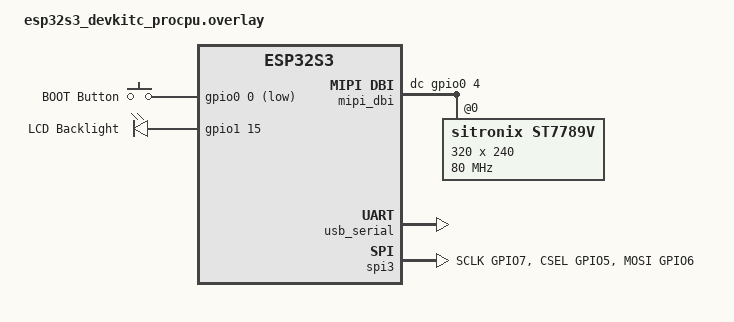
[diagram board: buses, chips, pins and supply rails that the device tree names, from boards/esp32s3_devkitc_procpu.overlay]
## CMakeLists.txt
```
cmake_minimum_required(VERSION 3.20.0)
find_package(Zephyr REQUIRED HINTS $ENV{ZEPHYR_BASE})
project(smart_camera)

target_sources(app PRIVATE
	src/main.c
	src/wifi_mgr.c
	src/display_ui.c
	src/jpeg_decoder.c
	src/mjpeg_client.c
	src/track_client.c
)

target_include_directories(app PRIVATE src)

# Reuse LVGL's bundled TJpgDec (compiled in via CONFIG_LV_USE_TJPGD=y).
# Add the tjpgd source dir so we can `#include "tjpgd.h"` directly.
target_include_directories(app PRIVATE
	${ZEPHYR_BASE}/../modules/lib/gui/lvgl/src/libs/tjpgd
	${ZEPHYR_BASE}/../modules/lib/gui/lvgl/src
)
```

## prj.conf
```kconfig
# smart_camera Phase 1: Wi-Fi STA + LCD status overlay.

# ── Console ──
CONFIG_PRINTK=y
CONFIG_CONSOLE=y
CONFIG_SERIAL=y

CONFIG_LOG=y
CONFIG_LOG_DEFAULT_LEVEL=3
CONFIG_LOG_BUFFER_SIZE=8192

# ── Display + LVGL (status overlay only for Phase 1) ──
CONFIG_DISPLAY=y
CONFIG_LVGL=y
CONFIG_LV_USE_LOG=n
CONFIG_LV_Z_MEM_POOL_SIZE=32768
CONFIG_LV_Z_VDB_SIZE=20
CONFIG_LV_Z_BITS_PER_PIXEL=16
CONFIG_LV_COLOR_16_SWAP=y
CONFIG_LV_USE_LABEL=y
CONFIG_LV_USE_BUTTON=y
CONFIG_LV_FONT_MONTSERRAT_14=y
CONFIG_LV_FONT_MONTSERRAT_18=y
CONFIG_LV_USE_CANVAS=y
# JPEG decoder (TJpgDec, bundled in LVGL). We call jd_prepare/jd_decomp directly.
CONFIG_LV_USE_TJPGD=y
# Disable default theme (matches launcher_full: shadows can crash with WiFi coexistence)
CONFIG_LV_USE_THEME_DEFAULT=n
CONFIG_LV_USE_THEME_SIMPLE=y

# ── SPI / MIPI-DBI for LCD ──
CONFIG_SPI=y
CONFIG_MIPI_DBI=y

# ── GPIO for BOOT button ──
CONFIG_GPIO=y
CONFIG_GPIO_INIT_PRIORITY=40

# ── PSRAM (Wi-Fi alloc on PSRAM keeps DRAM free) ──
CONFIG_ESP_SPIRAM=y
CONFIG_SHARED_MULTI_HEAP=y
CONFIG_ESP_SPIRAM_HEAP_SIZE=4194304

# ── Networking ──
CONFIG_NETWORKING=y
CONFIG_NET_MGMT=y
CONFIG_NET_MGMT_EVENT=y
CONFIG_NET_MGMT_EVENT_INFO=y
CONFIG_NET_IPV4=y
CONFIG_NET_IPV6=n
CONFIG_NET_TCP=y
CONFIG_NET_UDP=y
CONFIG_NET_DHCPV4=y
CONFIG_NET_SOCKETS=y
CONFIG_POSIX_API=y

# ── HTTP client (for Phase 3 MJPEG pull) ──
CONFIG_HTTP_CLIENT=y

# ── DNS ──
CONFIG_DNS_RESOLVER=y
CONFIG_DNS_RESOLVER_AI_MAX_ENTRIES=2

# ── WiFi (PSRAM alloc to keep DRAM free) ──
CONFIG_WIFI=y
CONFIG_WIFI_NM=y
CONFIG_NET_L2_WIFI_MGMT=y
CONFIG_ESP32_WIFI_STA_AUTO_DHCPV4=y
CONFIG_ESP32_WIFI_STATIC_RX_BUFFER_NUM=4
CONFIG_ESP32_WIFI_DYNAMIC_RX_BUFFER_NUM=8
CONFIG_ESP32_WIFI_DYNAMIC_TX_BUFFER_NUM=8
CONFIG_ESP32_WIFI_NET_ALLOC_SPIRAM=y
CONFIG_ESP_WIFI_HEAP_SPIRAM=y

# ── Stack & buffers ──
CONFIG_MAIN_STACK_SIZE=8192
CONFIG_SYSTEM_WORKQUEUE_STACK_SIZE=4096
CONFIG_NET_TX_STACK_SIZE=2048
CONFIG_NET_RX_STACK_SIZE=2048
CONFIG_NET_MGMT_EVENT_STACK_SIZE=4096
CONFIG_NET_PKT_RX_COUNT=24
CONFIG_NET_PKT_TX_COUNT=10
CONFIG_NET_BUF_RX_COUNT=64
CONFIG_NET_BUF_TX_COUNT=24
CONFIG_NET_MAX_CONTEXTS=6
CONFIG_NET_MGMT_EVENT_QUEUE_TIMEOUT=5000
CONFIG_NET_MGMT_EVENT_QUEUE_SIZE=16

# ── Heap ──
CONFIG_HEAP_MEM_POOL_SIZE=65536
```

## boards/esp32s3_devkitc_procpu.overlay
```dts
/* smart_camera DTS overlay for CHD-ESP32-S3-BOX
 *
 * Minimal: USB serial console + LCD (ST7789V on SPI3) + BOOT button.
 * No camera, no I2S, no BT — they aren't needed for this firmware.
 */

#include <zephyr/dt-bindings/pinctrl/esp-pinctrl-common.h>
#include <dt-bindings/pinctrl/esp32s3-pinctrl.h>
#include <zephyr/dt-bindings/pinctrl/esp32s3-gpio-sigmap.h>
#include <zephyr/dt-bindings/mipi_dbi/mipi_dbi.h>

/ {
	chosen {
		zephyr,console = &usb_serial;
		zephyr,shell-uart = &usb_serial;
		zephyr,display = &st7789v;
	};

	mipi_dbi {
		compatible = "zephyr,mipi-dbi-spi";
		dc-gpios = <&gpio0 4 GPIO_ACTIVE_HIGH>;
		spi-dev = <&spi3>;
		write-only;
		#address-cells = <1>;
		#size-cells = <0>;

		st7789v: st7789v@0 {
			compatible = "sitronix,st7789v";
			mipi-max-frequency = <80000000>;
			reg = <0>;
			width = <320>;
			height = <240>;
			x-offset = <0>;
			y-offset = <0>;
			vcom = <0x19>;
			gctrl = <0x35>;
			vrhs = <0x12>;
			vdvs = <0x20>;
			mdac = <0x60>;
			gamma = <0x01>;
			colmod = <0x55>;
			inversion-off;
			lcm = <0x2c>;
			porch-param = [0c 0c 00 33 33];
			cmd2en-param = [5a 69 02 01];
			pwctrl1-param = [a4 a1];
			pvgam-param = [D0 04 0D 11 13 2B 3F 54 4C 18 0D 0B 1F 23];
			nvgam-param = [D0 04 0C 11 13 2C 3F 44 51 2F 1F 1F 20 23];
			ram-param = [00 F0];
			rgb-param = [CD 08 14];
			mipi-mode = "MIPI_DBI_MODE_SPI_4WIRE";
		};
	};

	buttons {
		compatible = "gpio-keys";
		boot_button: boot_button {
			gpios = <&gpio0 0 (GPIO_PULL_UP | GPIO_ACTIVE_LOW)>;
			label = "BOOT Button";
		};
	};

	/* LCD backlight: IO47 = gpio1 pin 15 */
	leds {
		compatible = "gpio-leds";
		lcd_backlight: lcd_backlight {
			gpios = <&gpio1 15 GPIO_ACTIVE_HIGH>;
			label = "LCD Backlight";
		};
	};

	aliases {
		sw0 = &boot_button;
	};
};

&usb_serial {
	status = "okay";
};

&pinctrl {
	spim3_default: spim3_default {
		group1 {
			pinmux = <SPIM3_SCLK_GPIO7>,
				 <SPIM3_CSEL_GPIO5>;
		};
		group2 {
			pinmux = <SPIM3_MOSI_GPIO6>;
			output-low;
		};
	};
};

&spi3 {
	#address-cells = <1>;
	#size-cells = <0>;
	status = "okay";
	pinctrl-0 = <&spim3_default>;
	pinctrl-names = "default";
};
```

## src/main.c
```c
#include <zephyr/kernel.h>
#include <zephyr/logging/log.h>
#include <stdio.h>
#include <string.h>

#include "display_ui.h"
#include "wifi_mgr.h"
#include "mjpeg_client.h"
#include "track_client.h"
#include "secrets.h"
LOG_MODULE_REGISTER(smart_main, LOG_LEVEL_INF);

static void on_jpeg_frame(const struct mjpeg_frame *f, void *user)
{
    ARG_UNUSED(user);
    if (!f) return;
    display_ui_push_jpeg(f->data, f->len, f->seq);
}

static void on_track(int cx, int cy, void *user)
{
    ARG_UNUSED(user);
    display_ui_set_target(cx, cy);
}

int main(void)
{
    int ret;
    char ip[32] = {0};
    char status[96];

    LOG_INF("smart_camera boot");

    ret = display_ui_init();
    if (ret) { LOG_ERR("display_ui_init: %d", ret); return ret; }

    display_ui_set_status("Connecting Wi-Fi...");

    ret = wifi_mgr_connect_blocking(ip, sizeof(ip));
    if (ret) {
        LOG_ERR("wifi connect: %d", ret);
        snprintf(status, sizeof(status), "Wi-Fi FAIL: %d", ret);
        display_ui_set_status(status);
        return ret;
    }

    LOG_INF("Wi-Fi OK ip=%s server=%s:%d", ip, PC_SERVER_HOST, PC_SERVER_PORT);
    snprintf(status, sizeof(status), "ip=%s\nsrv=%s:%d", ip, PC_SERVER_HOST, PC_SERVER_PORT);
    display_ui_set_status(status);

    k_msleep(1500);

    display_ui_show_canvas();

    ret = mjpeg_client_start(PC_SERVER_HOST, PC_SERVER_PORT, "/mjpeg",
                             on_jpeg_frame, NULL);
    if (ret) { LOG_ERR("mjpeg start: %d", ret); return ret; }

    ret = track_client_start(PC_SERVER_HOST, PC_SERVER_PORT, on_track, NULL);
    if (ret) { LOG_ERR("track start: %d", ret); return ret; }

    while (1) {
        k_msleep(5000);
        LOG_INF("display fps=%u.%u", display_ui_get_fps_x10()/10, display_ui_get_fps_x10()%10);
    }
    return 0;
}
```

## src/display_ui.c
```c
#include <zephyr/kernel.h>
#include <zephyr/device.h>
#include <zephyr/devicetree.h>
#include <zephyr/drivers/display.h>
#include <zephyr/drivers/gpio.h>
#include <zephyr/logging/log.h>
#include <string.h>

#include <lvgl.h>

#include "display_ui.h"
#include "jpeg_decoder.h"

LOG_MODULE_REGISTER(smart_ui, LOG_LEVEL_INF);

#define UI_THREAD_STACK 4096
#define UI_THREAD_PRIO  5
#define DEC_THREAD_STACK 8192
#define DEC_THREAD_PRIO  6
#define LCD_W 320
#define LCD_H 240
#define CANVAS_BUF_BYTES (LCD_W * LCD_H * 2)
#define JPEG_SLOT_SIZE 65536

static const struct gpio_dt_spec lcd_bl =
    GPIO_DT_SPEC_GET(DT_NODELABEL(lcd_backlight), gpios);

static const struct device *display_dev;
static lv_obj_t *status_label;
static lv_obj_t *canvas;
static lv_obj_t *xh_ring;     /* outer ring */
static lv_obj_t *xh_hline;    /* horizontal line through center */
static lv_obj_t *xh_vline;    /* vertical line through center */
static uint8_t  canvas_buf[CANVAS_BUF_BYTES]
    __attribute__((section(".ext_ram.bss")));

static struct k_mutex ui_lock;

static K_THREAD_STACK_DEFINE(ui_stack, UI_THREAD_STACK);
static struct k_thread ui_thread;
static K_THREAD_STACK_DEFINE(dec_stack, DEC_THREAD_STACK);
static struct k_thread dec_thread;

static uint8_t  jpeg_slot[JPEG_SLOT_SIZE]
    __attribute__((section(".ext_ram.bss")));
static size_t   jpeg_slot_len;
static uint32_t jpeg_slot_seq;
static bool     jpeg_slot_full;
static struct k_mutex slot_lock;
static struct k_sem   slot_filled;

static uint32_t fps_x10;

static void ui_task(void *p1, void *p2, void *p3)
{
    ARG_UNUSED(p1); ARG_UNUSED(p2); ARG_UNUSED(p3);
    while (1) {
        uint32_t sleep_ms;
        k_mutex_lock(&ui_lock, K_FOREVER);
        sleep_ms = lv_timer_handler();
        k_mutex_unlock(&ui_lock);
        if (sleep_ms == LV_NO_TIMER_READY) sleep_ms = 50;
        k_msleep(MIN(sleep_ms, 50));
    }
}

static void dec_task(void *p1, void *p2, void *p3)
{
    ARG_UNUSED(p1); ARG_UNUSED(p2); ARG_UNUSED(p3);
    uint32_t frames_in_window = 0;
    int64_t  window_start = k_uptime_get();
    while (1) {
        k_sem_take(&slot_filled, K_FOREVER);
        k_mutex_lock(&slot_lock, K_FOREVER);
        size_t   len = jpeg_slot_len;
        uint32_t seq = jpeg_slot_seq;
        jpeg_slot_full = false;
        k_mutex_unlock(&slot_lock);
        int rc = jpeg_decode_to_rgb565(jpeg_slot, len, canvas_buf);
        if (rc) { LOG_WRN("decode err seq=%u: %d", seq, rc); continue; }
        k_mutex_lock(&ui_lock, K_FOREVER);
        if (canvas) lv_obj_invalidate(canvas);
        k_mutex_unlock(&ui_lock);
        frames_in_window++;
        int64_t now = k_uptime_get();
        if (now - window_start >= 2000) {
            fps_x10 = (uint32_t)((frames_in_window * 10000) / (now - window_start));
            frames_in_window = 0;
            window_start = now;
            LOG_INF("display fps=%u.%u", fps_x10 / 10, fps_x10 % 10);
        }
    }
}

int display_ui_init(void)
{
    int ret;
    if (!gpio_is_ready_dt(&lcd_bl)) { LOG_ERR("LCD bl GPIO not ready"); return -ENODEV; }
    ret = gpio_pin_configure_dt(&lcd_bl, GPIO_OUTPUT_ACTIVE);
    if (ret) { LOG_ERR("LCD bl cfg fail: %d", ret); return ret; }
    gpio_pin_set_dt(&lcd_bl, 1);
    LOG_INF("LCD backlight ON");

    display_dev = DEVICE_DT_GET(DT_CHOSEN(zephyr_display));
    if (!device_is_ready(display_dev)) { LOG_ERR("Display not ready"); return -ENODEV; }

    k_mutex_init(&ui_lock);
    k_mutex_init(&slot_lock);
    k_sem_init(&slot_filled, 0, 1);

    memset(canvas_buf, 0, CANVAS_BUF_BYTES);

    lv_obj_t *scr = lv_screen_active();
    lv_obj_set_style_bg_color(scr, lv_color_hex(0x101820), 0);
    lv_obj_set_style_bg_opa(scr, LV_OPA_COVER, 0);

    status_label = lv_label_create(scr);
    lv_label_set_long_mode(status_label, LV_LABEL_LONG_WRAP);
    lv_obj_set_width(status_label, 300);
    lv_obj_set_style_text_color(status_label, lv_color_hex(0xF8F9FA), 0);
    lv_obj_set_style_text_font(status_label, &lv_font_montserrat_14, 0);
    lv_obj_set_style_text_align(status_label, LV_TEXT_ALIGN_CENTER, 0);
    lv_label_set_text(status_label, "booting...");
    lv_obj_align(status_label, LV_ALIGN_CENTER, 0, 0);

    display_blanking_off(display_dev);

    k_thread_create(&ui_thread, ui_stack, K_THREAD_STACK_SIZEOF(ui_stack),
                    ui_task, NULL, NULL, NULL, UI_THREAD_PRIO, 0, K_NO_WAIT);
    k_thread_name_set(&ui_thread, "smart_ui");
    return 0;
}

void display_ui_set_status(const char *text)
{
    if (!status_label || !text) return;
    k_mutex_lock(&ui_lock, K_FOREVER);
    lv_label_set_text(status_label, text);
    k_mutex_unlock(&ui_lock);
}

void display_ui_show_canvas(void)
{
    k_mutex_lock(&ui_lock, K_FOREVER);
    if (status_label) { lv_obj_delete(status_label); status_label = NULL; }
    canvas = lv_canvas_create(lv_screen_active());
    lv_canvas_set_buffer(canvas, canvas_buf, LCD_W, LCD_H, LV_COLOR_FORMAT_RGB565);
    lv_obj_align(canvas, LV_ALIGN_CENTER, 0, 0);

    /* Crosshair overlay: 3 simple LVGL objects above the canvas. */
    lv_color_t green = lv_color_hex(0x00FF00);

    xh_ring = lv_obj_create(lv_screen_active());
    lv_obj_remove_style_all(xh_ring);
    lv_obj_set_size(xh_ring, 44, 44);
    lv_obj_set_style_radius(xh_ring, LV_RADIUS_CIRCLE, 0);
    lv_obj_set_style_border_color(xh_ring, green, 0);
    lv_obj_set_style_border_width(xh_ring, 2, 0);
    lv_obj_set_style_bg_opa(xh_ring, LV_OPA_TRANSP, 0);
    lv_obj_add_flag(xh_ring, LV_OBJ_FLAG_HIDDEN);

    xh_hline = lv_obj_create(lv_screen_active());
    lv_obj_remove_style_all(xh_hline);
    lv_obj_set_size(xh_hline, 60, 2);
    lv_obj_set_style_bg_color(xh_hline, green, 0);
    lv_obj_set_style_bg_opa(xh_hline, LV_OPA_COVER, 0);
    lv_obj_add_flag(xh_hline, LV_OBJ_FLAG_HIDDEN);

    xh_vline = lv_obj_create(lv_screen_active());
    lv_obj_remove_style_all(xh_vline);
    lv_obj_set_size(xh_vline, 2, 60);
    lv_obj_set_style_bg_color(xh_vline, green, 0);
    lv_obj_set_style_bg_opa(xh_vline, LV_OPA_COVER, 0);
    lv_obj_add_flag(xh_vline, LV_OBJ_FLAG_HIDDEN);

    k_mutex_unlock(&ui_lock);

    k_thread_create(&dec_thread, dec_stack, K_THREAD_STACK_SIZEOF(dec_stack),
                    dec_task, NULL, NULL, NULL, DEC_THREAD_PRIO, 0, K_NO_WAIT);
    k_thread_name_set(&dec_thread, "smart_dec");
}

void display_ui_set_target(int cx, int cy)
{
    if (!xh_ring) return;
    k_mutex_lock(&ui_lock, K_FOREVER);
    if (cx < 0 || cy < 0 || cx >= LCD_W || cy >= LCD_H) {
        lv_obj_add_flag(xh_ring,  LV_OBJ_FLAG_HIDDEN);
        lv_obj_add_flag(xh_hline, LV_OBJ_FLAG_HIDDEN);
        lv_obj_add_flag(xh_vline, LV_OBJ_FLAG_HIDDEN);
    } else {
        /* canvas is centered, so the screen origin == canvas origin (320x240). */
        lv_obj_set_pos(xh_ring,  cx - 22, cy - 22);
        lv_obj_set_pos(xh_hline, cx - 30, cy - 1);
        lv_obj_set_pos(xh_vline, cx - 1,  cy - 30);
        lv_obj_clear_flag(xh_ring,  LV_OBJ_FLAG_HIDDEN);
        lv_obj_clear_flag(xh_hline, LV_OBJ_FLAG_HIDDEN);
        lv_obj_clear_flag(xh_vline, LV_OBJ_FLAG_HIDDEN);
    }
    k_mutex_unlock(&ui_lock);
}

void display_ui_push_jpeg(const uint8_t *jpeg, size_t len, uint32_t seq)
{
    static bool first_logged;
    if (!first_logged) {
        LOG_INF("first jpeg push: len=%u seq=%u", (unsigned)len, seq);
        first_logged = true;
    }
    if (!jpeg || len == 0 || len > JPEG_SLOT_SIZE) {
        LOG_WRN("push rejected: jpeg=%p len=%u", jpeg, (unsigned)len);
        return;
    }
    k_mutex_lock(&slot_lock, K_FOREVER);
    memcpy(jpeg_slot, jpeg, len);
    jpeg_slot_len = len;
    jpeg_slot_seq = seq;
    if (!jpeg_slot_full) { jpeg_slot_full = true; k_sem_give(&slot_filled); }
    k_mutex_unlock(&slot_lock);
}

uint32_t display_ui_get_fps_x10(void) { return fps_x10; }
```

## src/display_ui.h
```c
#ifndef SMART_CAMERA_DISPLAY_UI_H_
#define SMART_CAMERA_DISPLAY_UI_H_

#include <stdint.h>
#include <stddef.h>

/* Initialise LVGL + LCD; show a status screen.
 * Returns 0 on success.
 */
int display_ui_init(void);

/* Replace the status text shown at the top of the screen. */
void display_ui_set_status(const char *text);

/* Switch the active screen to the live MJPEG canvas (call once after Wi-Fi
 * is up and before mjpeg_client_start()).
 */
void display_ui_show_canvas(void);

/* Submit a JPEG frame for decode + display. The buffer is consumed before
 * this call returns (the caller may free/reuse it).
 */
void display_ui_push_jpeg(const uint8_t *jpeg, size_t len, uint32_t seq);

/* Last measured display FPS (decoded + drawn). 0 until first sample. */
uint32_t display_ui_get_fps_x10(void);

/* Set crosshair position over the live canvas. cx<0 hides the crosshair.
 * Coordinates are in canvas pixels (0..319 / 0..239).
 */
void display_ui_set_target(int cx, int cy);

#endif /* SMART_CAMERA_DISPLAY_UI_H_ */
```

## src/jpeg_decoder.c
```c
/*
 * smart_camera JPEG decoder wrapper.
 *
 * Backed by LVGL's bundled TJpgDec (C ChaN, public-domain). The CMakeLists
 * adds the lvgl tjpgd dir to the include path so we can call jd_prepare /
 * jd_decomp directly. We enable CONFIG_LV_USE_TJPGD=y in prj.conf so the
 * tjpgd.c symbols are compiled into the image.
 *
 * tjpgd outputs RGB888 (24-bit). We convert to RGB565 byte-swapped on the fly
 * inside the output callback to match the LCD pipeline (LV_COLOR_16_SWAP=y).
 */

#include <zephyr/kernel.h>
#include <zephyr/logging/log.h>
#include <string.h>
#include <errno.h>

#include "tjpgd.h"
#include "jpeg_decoder.h"

LOG_MODULE_REGISTER(jpeg_dec, LOG_LEVEL_INF);

#define OUT_W 320
#define OUT_H 240

/* tjpgd work pool. ~3.5 KB is plenty for 320x240 baseline JPEGs. */
#define WORKPOOL_SIZE 4096

struct in_ctx {
	const uint8_t *buf;
	size_t len;
	size_t pos;
};

struct out_ctx {
	uint8_t *out;          /* 320*240*2 RGB565 LE-swapped */
	uint16_t out_w;
	uint16_t out_h;
};

struct dec_ctx {
	struct in_ctx in;
	struct out_ctx out;
};

static size_t in_func(JDEC *jd, uint8_t *dst, size_t len)
{
	struct dec_ctx *ctx = jd->device;
	size_t remain = ctx->in.len - ctx->in.pos;
	size_t n = MIN(len, remain);

	if (dst) {
		memcpy(dst, ctx->in.buf + ctx->in.pos, n);
	}
	ctx->in.pos += n;
	return n;
}

static int out_func(JDEC *jd, void *bitmap, JRECT *rect)
{
	struct dec_ctx *ctx = jd->device;
	const uint8_t *src = bitmap;            /* RGB888 row-major */
	uint16_t bw = rect->right - rect->left + 1;
	uint16_t bh = rect->bottom - rect->top + 1;

	/* Skip MCUs that are entirely outside the LCD area. */
	if (rect->left >= ctx->out.out_w || rect->top >= ctx->out.out_h) {
		return 1;
	}

	uint16_t copy_w = MIN(bw, ctx->out.out_w - rect->left);
	uint16_t copy_h = MIN(bh, ctx->out.out_h - rect->top);

	for (uint16_t y = 0; y < copy_h; y++) {
		const uint8_t *sp = src + (uint32_t)y * bw * 3;
		uint8_t *dp = ctx->out.out +
			      ((uint32_t)(rect->top + y) * ctx->out.out_w +
			       rect->left) * 2;
		for (uint16_t x = 0; x < copy_w; x++) {
			uint8_t r = sp[0];
			uint8_t g = sp[1];
			uint8_t b = sp[2];
			/* LCD controller expects BGR565 (R/B swapped vs standard
			 * RGB565). Pack as BGR then write LE bytes.
			 */
			uint16_t px = ((b & 0xF8) << 8) |
				      ((g & 0xFC) << 3) |
				      (r >> 3);
			dp[0] = (uint8_t)(px & 0xFF);
			dp[1] = (uint8_t)(px >> 8);
			sp += 3;
			dp += 2;
		}
	}
	return 1;
}

int jpeg_decode_to_rgb565(const uint8_t *in, size_t in_len, uint8_t *out_565)
{
	if (!in || !out_565 || in_len < 2) {
		return -EINVAL;
	}

	static uint8_t workpool[WORKPOOL_SIZE];
	JDEC jd = {0};
	struct dec_ctx ctx = {
		.in = { .buf = in, .len = in_len, .pos = 0 },
		.out = { .out = out_565, .out_w = OUT_W, .out_h = OUT_H },
	};

	JRESULT r = jd_prepare(&jd, in_func, workpool, sizeof(workpool), &ctx);
	if (r != JDR_OK) {
		LOG_DBG("jd_prepare: %d", r);
		return -EIO;
	}

	r = jd_decomp(&jd, out_func, 0);
	if (r != JDR_OK) {
		LOG_DBG("jd_decomp: %d", r);
		return -EIO;
	}

	return 0;
}

size_t jpeg_decoder_workpool_bytes(void)
{
	return WORKPOOL_SIZE;
}
```

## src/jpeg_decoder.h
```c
#ifndef SMART_CAMERA_JPEG_DECODER_H_
#define SMART_CAMERA_JPEG_DECODER_H_

#include <stdint.h>
#include <stddef.h>

/* Decode a complete JPEG (baseline, RGB888 or YCbCr) into a 320x240 RGB565
 * buffer.
 *
 *   in        Pointer to JPEG bytes.
 *   in_len    Length of JPEG bytes.
 *   out_565   Pointer to caller-provided 320*240*2 = 153600 byte buffer.
 *             Bytes are written big-endian (matches LV_COLOR_16_SWAP=y).
 *
 * Returns 0 on success, negative errno on failure.
 *
 * Pixels outside the source image (smaller than 320x240) and pixels of
 * sources larger than 320x240 are clipped/ignored without scaling.
 */
int jpeg_decode_to_rgb565(const uint8_t *in, size_t in_len, uint8_t *out_565);

/* Returns the (small) work-pool size used internally; for diagnostic logging. */
size_t jpeg_decoder_workpool_bytes(void);

#endif /* SMART_CAMERA_JPEG_DECODER_H_ */
```

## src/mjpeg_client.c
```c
/*
 * smart_camera MJPEG client.
 *
 * Establishes a long-lived TCP connection to the PC server, issues
 *   GET <path> HTTP/1.0
 * and parses a multipart/x-mixed-replace response, invoking the user callback
 * for every full JPEG frame.
 *
 * We use a simple state machine:
 *   1. read until we have all response headers (\r\n\r\n)
 *   2. extract boundary token from Content-Type
 *   3. loop: search for boundary -> read part headers -> read Content-Length
 *      bytes of JPEG -> deliver frame -> repeat
 *
 * On any error we close the socket and reconnect after a short backoff.
 */

#include <zephyr/kernel.h>
#include <zephyr/logging/log.h>
#include <string.h>
#include <strings.h>
#include <stdio.h>
#include <stdlib.h>
#include <errno.h>

#include <zephyr/net/socket.h>
#include <zephyr/net/dns_resolve.h>

#include "mjpeg_client.h"

LOG_MODULE_REGISTER(mjpeg_client, LOG_LEVEL_INF);

#define RX_BUF_SIZE        8192
#define MAX_FRAME_SIZE     65536  /* 320x240 JPEG @ Q=70 is well under 30 KB */
#define RECONNECT_BACKOFF_MS 2000

#define CLIENT_THREAD_STACK 4096
#define CLIENT_THREAD_PRIO  6

static K_THREAD_STACK_DEFINE(client_stack, CLIENT_THREAD_STACK);
static struct k_thread client_thread;

struct client_cfg {
	const char *host;
	uint16_t port;
	const char *path;
	mjpeg_frame_cb_t cb;
	void *user;
};

static struct client_cfg cfg;

/* Re-used frame buffer in PSRAM. */
static uint8_t frame_buf[MAX_FRAME_SIZE]
    __attribute__((section(".ext_ram.bss")));

/* ------- low-level helpers ------- */

static int tcp_connect(const char *host, uint16_t port)
{
	struct zsock_addrinfo hints = {
		.ai_family = AF_INET,
		.ai_socktype = SOCK_STREAM,
	};
	struct zsock_addrinfo *res = NULL;
	char port_str[8];
	int sock, ret;

	snprintk(port_str, sizeof(port_str), "%u", port);
	ret = zsock_getaddrinfo(host, port_str, &hints, &res);
	if (ret || !res) {
		LOG_ERR("DNS %s: %d", host, ret);
		return -EHOSTUNREACH;
	}

	sock = zsock_socket(AF_INET, SOCK_STREAM, IPPROTO_TCP);
	if (sock < 0) {
		LOG_ERR("socket: %d", errno);
		zsock_freeaddrinfo(res);
		return -errno;
	}

	ret = zsock_connect(sock, res->ai_addr, res->ai_addrlen);
	zsock_freeaddrinfo(res);
	if (ret < 0) {
		LOG_ERR("connect %s:%u: %d", host, port, errno);
		zsock_close(sock);
		return -errno;
	}

	/* recv timeout so a silently dropped TCP connection does not hang us
	 * forever. On timeout recv() returns -1 with errno=EAGAIN; the caller
	 * treats it as an error and triggers reconnect.
	 */
	struct zsock_timeval tv = { .tv_sec = 5, .tv_usec = 0 };
	if (zsock_setsockopt(sock, SOL_SOCKET, SO_RCVTIMEO, &tv, sizeof(tv)) < 0) {
		LOG_WRN("SO_RCVTIMEO: %d", errno);
	}

	LOG_INF("connected %s:%u", host, port);
	return sock;
}

static int send_get(int sock, const char *host, uint16_t port, const char *path)
{
	char req[256];
	int len = snprintk(req, sizeof(req),
			   "GET %s HTTP/1.0\r\n"
			   "Host: %s:%u\r\n"
			   "User-Agent: smart_camera/1\r\n"
			   "Accept: */*\r\n"
			   "\r\n",
			   path, host, port);
	if (len < 0 || len >= (int)sizeof(req)) {
		return -ENOMEM;
	}
	int sent = 0;
	while (sent < len) {
		int n = zsock_send(sock, req + sent, len - sent, 0);
		if (n <= 0) {
			LOG_ERR("send: %d", errno);
			return -errno;
		}
		sent += n;
	}
	return 0;
}

/* ------- multipart parser ------- */

/* Extract boundary value from a Content-Type header value into out (size sz).
 * Returns 0 on success.
 */
static int extract_boundary(const char *headers, char *out, size_t sz)
{
	const char *p = strstr(headers, "boundary=");
	if (!p) {
		p = strstr(headers, "BOUNDARY=");
	}
	if (!p) {
		return -ENOENT;
	}
	p += strlen("boundary=");
	/* Optional surrounding quotes */
	if (*p == '"') {
		p++;
	}
	const char *end = p;
	while (*end && *end != '"' && *end != '\r' && *end != '\n' &&
	       *end != ';' && *end != ' ') {
		end++;
	}
	size_t blen = end - p;
	if (blen + 3 > sz) {
		return -ENOMEM;
	}
	/* Server sends "--<boundary>" between parts. */
	out[0] = '-';
	out[1] = '-';
	memcpy(out + 2, p, blen);
	out[2 + blen] = '\0';
	return 0;
}

/* Read into dst until len bytes received or socket dies.
 * Returns 0 on success, negative errno on failure.
 */
static int read_exact(int sock, uint8_t *dst, size_t len)
{
	size_t got = 0;
	while (got < len) {
		int n = zsock_recv(sock, dst + got, len - got, 0);
		if (n <= 0) {
			return n == 0 ? -EPIPE : -errno;
		}
		got += n;
	}
	return 0;
}

/* Drop bytes from socket until the bytes ending the buffer == needle. Returns
 * 0 on found, negative on error. The matched needle is consumed.
 */
static int read_until(int sock, const char *needle)
{
	size_t nlen = strlen(needle);
	uint8_t window[16];
	size_t wpos = 0;

	if (nlen >= sizeof(window)) {
		return -ENOMEM;
	}

	while (1) {
		uint8_t b;
		int n = zsock_recv(sock, &b, 1, 0);
		if (n <= 0) {
			return n == 0 ? -EPIPE : -errno;
		}
		if (wpos < nlen) {
			window[wpos++] = b;
		} else {
			memmove(window, window + 1, nlen - 1);
			window[nlen - 1] = b;
		}
		if (wpos == nlen && memcmp(window, needle, nlen) == 0) {
			return 0;
		}
	}
}

/* Parse a part header block (already past the boundary line) up to and
 * including the trailing \r\n\r\n. Returns Content-Length, or -1 if missing.
 */
static int read_part_headers(int sock)
{
	char buf[256];
	size_t pos = 0;
	int content_len = -1;

	/* Read line by line until empty line. */
	while (1) {
		size_t line_start = pos;
		while (1) {
			if (pos >= sizeof(buf) - 1) {
				return -ENOMEM;
			}
			int n = zsock_recv(sock, (uint8_t *)&buf[pos], 1, 0);
			if (n <= 0) {
				return n == 0 ? -EPIPE : -errno;
			}
			pos++;
			if (pos >= 2 && buf[pos - 2] == '\r' && buf[pos - 1] == '\n') {
				break;
			}
		}
		size_t line_len = pos - line_start - 2;
		buf[pos - 2] = '\0';
		if (line_len == 0) {
			break; /* end of part headers */
		}
		if (strncasecmp(&buf[line_start], "Content-Length:", 15) == 0) {
			content_len = atoi(&buf[line_start + 15]);
		}
		buf[pos - 2] = '\r';
	}
	return content_len;
}

/* Read and parse the HTTP response status + headers. Returns 0 on 200 OK and
 * fills boundary[]. */
static int read_response_headers(int sock, char *boundary, size_t bsz)
{
	char hbuf[1024];
	size_t pos = 0;

	while (pos < sizeof(hbuf) - 1) {
		int n = zsock_recv(sock, (uint8_t *)&hbuf[pos], 1, 0);
		if (n <= 0) {
			return n == 0 ? -EPIPE : -errno;
		}
		pos++;
		if (pos >= 4 && hbuf[pos - 4] == '\r' && hbuf[pos - 3] == '\n' &&
		    hbuf[pos - 2] == '\r' && hbuf[pos - 1] == '\n') {
			hbuf[pos] = '\0';
			break;
		}
	}

	/* Status line: "HTTP/1.x 200 ..." */
	int status = 0;
	const char *sp = strchr(hbuf, ' ');
	if (sp) {
		status = atoi(sp + 1);
	}
	if (status != 200) {
		LOG_ERR("server returned %d", status);
		return -EPROTO;
	}

	if (extract_boundary(hbuf, boundary, bsz) < 0) {
		LOG_ERR("no boundary in headers");
		return -EPROTO;
	}
	LOG_INF("boundary=%s", boundary);
	return 0;
}

/* ------- main client loop ------- */

static void client_session(int sock)
{
	char boundary[64];
	uint32_t seq = 0;
	int ret;

	ret = send_get(sock, cfg.host, cfg.port, cfg.path);
	if (ret) {
		return;
	}
	ret = read_response_headers(sock, boundary, sizeof(boundary));
	if (ret) {
		return;
	}

	while (1) {
		ret = read_until(sock, boundary);
		if (ret) {
			LOG_WRN("read_until boundary failed: %d", ret);
			return;
		}
		/* The boundary may be followed by \r\n or "--\r\n" (final). */
		uint8_t suffix[2];
		ret = read_exact(sock, suffix, 2);
		if (ret) {
			return;
		}
		if (suffix[0] == '-' && suffix[1] == '-') {
			LOG_INF("server closed stream");
			return;
		}
		/* expected \r\n already in suffix; loop expects part headers next */

		int clen = read_part_headers(sock);
		if (clen <= 0) {
			LOG_WRN("part missing Content-Length");
			return;
		}
		if (clen > MAX_FRAME_SIZE) {
			LOG_ERR("frame too big: %d > %d", clen, MAX_FRAME_SIZE);
			return;
		}

		ret = read_exact(sock, frame_buf, clen);
		if (ret) {
			LOG_WRN("read frame failed: %d", ret);
			return;
		}

		struct mjpeg_frame f = {
			.data = frame_buf,
			.len  = (size_t)clen,
			.seq  = seq++,
		};
		/* Latency optimisation: peek a full frame's worth (~4KB) - if so
		 * many bytes are already buffered then a complete newer frame is
		 * waiting and the current one is stale; drop it.
		 */
		static uint8_t peekbuf[4096];
		int avail = zsock_recv(sock, peekbuf, sizeof(peekbuf),
				       ZSOCK_MSG_PEEK | ZSOCK_MSG_DONTWAIT);
		bool stale = (avail >= (int)sizeof(peekbuf));
		if (cfg.cb && !stale) {
			cfg.cb(&f, cfg.user);
		}

		/* Trailing \r\n after JPEG body, swallow it.
		 * Use a separate buffer; do NOT reuse boundary[] (it is the
		 * needle for the next read_until and must stay intact).
		 */
		uint8_t crlf[2];
		ret = read_exact(sock, crlf, 2);
		if (ret) {
			return;
		}
	}
}

static void client_task(void *p1, void *p2, void *p3)
{
	ARG_UNUSED(p1); ARG_UNUSED(p2); ARG_UNUSED(p3);

	while (1) {
		int sock = tcp_connect(cfg.host, cfg.port);
		if (sock < 0) {
			k_msleep(RECONNECT_BACKOFF_MS);
			continue;
		}
		client_session(sock);
		zsock_close(sock);
		LOG_WRN("disconnected, retrying in %d ms", RECONNECT_BACKOFF_MS);
		k_msleep(RECONNECT_BACKOFF_MS);
	}
}

int mjpeg_client_start(const char *host, uint16_t port, const char *path,
		       mjpeg_frame_cb_t cb, void *user)
{
	cfg.host = host;
	cfg.port = port;
	cfg.path = path;
	cfg.cb = cb;
	cfg.user = user;

	k_thread_create(&client_thread, client_stack,
			K_THREAD_STACK_SIZEOF(client_stack),
			client_task, NULL, NULL, NULL,
			CLIENT_THREAD_PRIO, 0, K_NO_WAIT);
	k_thread_name_set(&client_thread, "mjpeg_cli");
	return 0;
}
```

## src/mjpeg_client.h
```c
#ifndef SMART_CAMERA_MJPEG_CLIENT_H_
#define SMART_CAMERA_MJPEG_CLIENT_H_

#include <stdint.h>
#include <stddef.h>

/* Frame received from PC server. The buffer is owned by the receiver thread
 * and is reused once display_ui has consumed it.
 */
struct mjpeg_frame {
	uint8_t *data;
	size_t len;
	uint32_t seq;
};

typedef void (*mjpeg_frame_cb_t)(const struct mjpeg_frame *frame, void *user);

/* Spawn the background MJPEG client thread.
 *
 *   host, port  PC server endpoint.
 *   path        URL path (typically "/mjpeg").
 *   cb          Called for every full JPEG frame; the data pointer is only
 *               valid during the callback. The callback runs on the client
 *               thread, so do quick work or copy/queue.
 *   user        Opaque pointer forwarded to cb.
 */
int mjpeg_client_start(const char *host, uint16_t port, const char *path,
		       mjpeg_frame_cb_t cb, void *user);

#endif /* SMART_CAMERA_MJPEG_CLIENT_H_ */
```

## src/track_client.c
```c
/*
 * smart_camera /track NDJSON client.
 *
 * Connects to http://<host>:<port>/track and parses one JSON object per line.
 * Each line looks like:    {"seq":N,"cx":X,"cy":Y}\n
 * cx==-1 means no target.
 */

#include <zephyr/kernel.h>
#include <zephyr/logging/log.h>
#include <zephyr/net/socket.h>
#include <string.h>
#include <stdio.h>
#include <stdlib.h>
#include <errno.h>

#include "track_client.h"

LOG_MODULE_REGISTER(track_client, LOG_LEVEL_INF);

#define TRACK_THREAD_STACK 3072
#define TRACK_THREAD_PRIO  7
#define LINE_BUF_SIZE      256
#define BACKOFF_MS         2000

static K_THREAD_STACK_DEFINE(track_stack, TRACK_THREAD_STACK);
static struct k_thread track_thread;

struct track_cfg {
	const char *host;
	uint16_t port;
	track_target_cb_t cb;
	void *user;
};

static struct track_cfg cfg;

static int tcp_connect(const char *host, uint16_t port)
{
	struct zsock_addrinfo hints = {
		.ai_family = AF_INET,
		.ai_socktype = SOCK_STREAM,
	};
	struct zsock_addrinfo *res = NULL;
	char port_str[8];
	int sock, ret;

	snprintk(port_str, sizeof(port_str), "%u", port);
	ret = zsock_getaddrinfo(host, port_str, &hints, &res);
	if (ret || !res) {
		LOG_ERR("DNS %s: %d", host, ret);
		return -EHOSTUNREACH;
	}
	sock = zsock_socket(AF_INET, SOCK_STREAM, IPPROTO_TCP);
	if (sock < 0) {
		zsock_freeaddrinfo(res);
		return -errno;
	}
	ret = zsock_connect(sock, res->ai_addr, res->ai_addrlen);
	zsock_freeaddrinfo(res);
	if (ret < 0) {
		zsock_close(sock);
		return -errno;
	}
	return sock;
}

static int send_get(int sock, const char *host, uint16_t port)
{
	char req[160];
	int len = snprintk(req, sizeof(req),
			   "GET /track HTTP/1.0\r\n"
			   "Host: %s:%u\r\n"
			   "Accept: */*\r\n"
			   "\r\n",
			   host, port);
	int sent = 0;
	while (sent < len) {
		int n = zsock_send(sock, req + sent, len - sent, 0);
		if (n <= 0) return -errno;
		sent += n;
	}
	return 0;
}

/* Read until "\r\n\r\n" (end of HTTP response headers). */
static int skip_headers(int sock)
{
	uint8_t window[4] = {0};
	while (1) {
		uint8_t b;
		int n = zsock_recv(sock, &b, 1, 0);
		if (n <= 0) return -EPIPE;
		window[0] = window[1];
		window[1] = window[2];
		window[2] = window[3];
		window[3] = b;
		if (window[0] == '\r' && window[1] == '\n' &&
		    window[2] == '\r' && window[3] == '\n') {
			return 0;
		}
	}
}

/* Naive JSON {"seq":N,"cx":X,"cy":Y} parser. Returns 0 and fills *cx/*cy
 * (or -1 for no target).
 */
static int parse_line(const char *line, int *cx, int *cy)
{
	const char *p = strstr(line, "\"cx\":");
	if (!p) return -EINVAL;
	*cx = atoi(p + 5);
	p = strstr(line, "\"cy\":");
	if (!p) return -EINVAL;
	*cy = atoi(p + 5);
	return 0;
}

static void session(int sock)
{
	if (send_get(sock, cfg.host, cfg.port) < 0) return;
	if (skip_headers(sock) < 0) return;

	char line[LINE_BUF_SIZE];
	size_t pos = 0;
	while (1) {
		uint8_t b;
		int n = zsock_recv(sock, &b, 1, 0);
		if (n <= 0) return;
		if (b == '\n') {
			line[pos] = '\0';
			int cx = -1, cy = -1;
			if (parse_line(line, &cx, &cy) == 0 && cfg.cb) {
				cfg.cb(cx, cy, cfg.user);
			}
			pos = 0;
		} else if (pos < sizeof(line) - 1) {
			line[pos++] = (char)b;
		} else {
			pos = 0; /* line too long, drop */
		}
	}
}

static void track_task(void *p1, void *p2, void *p3)
{
	ARG_UNUSED(p1); ARG_UNUSED(p2); ARG_UNUSED(p3);
	while (1) {
		int sock = tcp_connect(cfg.host, cfg.port);
		if (sock < 0) {
			k_msleep(BACKOFF_MS);
			continue;
		}
		LOG_INF("track connected %s:%u", cfg.host, cfg.port);
		session(sock);
		zsock_close(sock);
		LOG_WRN("track disconnected, retry in %d ms", BACKOFF_MS);
		k_msleep(BACKOFF_MS);
	}
}

int track_client_start(const char *host, uint16_t port,
		       track_target_cb_t cb, void *user)
{
	cfg.host = host;
	cfg.port = port;
	cfg.cb = cb;
	cfg.user = user;
	k_thread_create(&track_thread, track_stack,
			K_THREAD_STACK_SIZEOF(track_stack),
			track_task, NULL, NULL, NULL,
			TRACK_THREAD_PRIO, 0, K_NO_WAIT);
	k_thread_name_set(&track_thread, "track");
	return 0;
}
```

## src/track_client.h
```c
#ifndef SMART_CAMERA_TRACK_CLIENT_H_
#define SMART_CAMERA_TRACK_CLIENT_H_

#include <stdint.h>

/* Callback invoked once per NDJSON line received from /track. cx<0 means
 * "no target" (hide the crosshair).
 */
typedef void (*track_target_cb_t)(int cx, int cy, void *user);

/* Start a background thread that connects to http://host:port/track and
 * calls cb(cx, cy, user) for every JSON line. Returns 0 on success.
 */
int track_client_start(const char *host, uint16_t port,
                       track_target_cb_t cb, void *user);

#endif /* SMART_CAMERA_TRACK_CLIENT_H_ */
```
